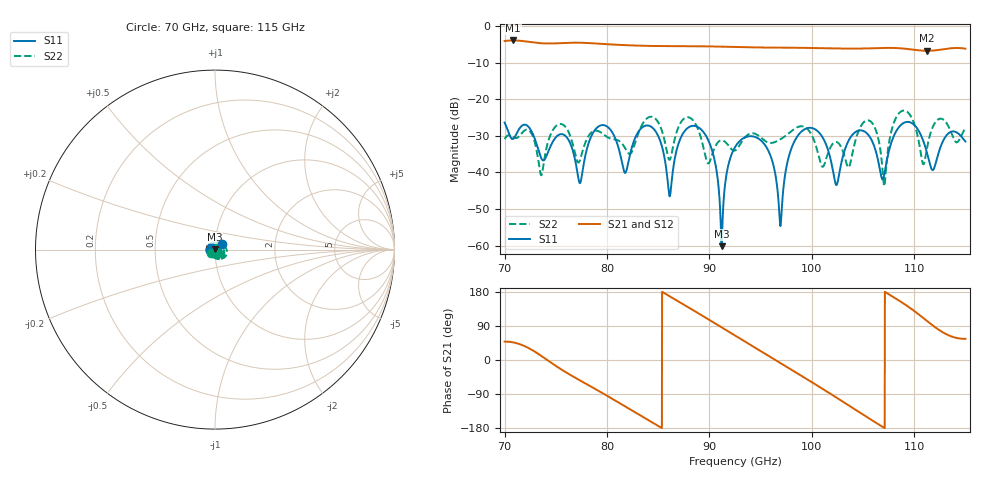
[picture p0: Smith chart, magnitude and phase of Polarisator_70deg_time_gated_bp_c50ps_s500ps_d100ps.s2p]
# Hz S RI R 1.000000
! Metas.Vna.Tools, 2.4.7898.19887
! Metas.Vna.Data, 2.4.7898.19873
! Created: UTC 2021.09.30 14:31:00
! FREQ  re:S1,1  im:S1,1  re:S2,1  im:S2,1  re:S1,2  im:S1,2  re:S2,2  im:S2,2
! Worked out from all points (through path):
!   2251 points, 70 GHz to 115 GHz, reference 1 ohm
!   highest |S21| = -3.92 dB at 70.84 GHz (marker M1); lowest = -6.7 dB at 111.3 GHz (marker M2)
!   lowest |S11| = -60.2 dB at 91.2 GHz (marker M3), VSWR 1.00, Z = 1 + j0.0019 ohm
!   |S11| at or under -10 dB: start of sweep to end of sweep
!   |S22| runs from -43.8 to -23.1 dB; largest |S21 - S12| = 0.069
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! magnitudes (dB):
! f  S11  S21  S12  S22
! 70 GHz  -26.4  -4.1  -4.0  -30.9
! 70.84 GHz  -30.8  -3.9  -3.9  -30.3
! 75.8 GHz  -29.7  -4.6  -4.6  -27.1
! 77.5 GHz  -41.6  -4.6  -4.5  -35.3
! 79.26 GHz  -27.3  -4.8  -4.8  -28.8
! 81.76 GHz  -40.1  -5.2  -5.2  -33.3
! 85 GHz  -30.1  -5.5  -5.4  -26.3
! 86.12 GHz  -46.6  -5.5  -5.4  -36.6
! 87.74 GHz  -28.2  -5.5  -5.4  -25.0
! 89.42 GHz  -29.0  -5.5  -5.5  -33.2
! 91.2 GHz  -60.2  -5.6  -5.6  -31.2
! 92.5 GHz  -33.1  -5.7  -5.7  -34.0
! 95.42 GHz  -32.5  -5.8  -5.8  -31.4
! 96.94 GHz  -54.7  -5.9  -5.8  -30.9
! 98.04 GHz  -33.2  -5.9  -5.8  -28.6
! 100 GHz  -27.9  -6.0  -5.9  -29.8
! 102.4 GHz  -43.4  -6.1  -6.0  -31.7
! 104.4 GHz  -28.8  -6.2  -6.1  -30.3
! 107.5 GHz  -34.5  -6.0  -5.9  -32.6
! 109 GHz  -26.4  -6.2  -6.1  -23.1
! 111.3 GHz  -35.0  -6.7  -6.6  -32.9
! 115 GHz  -31.5  -6.2  -6.0  -27.9
